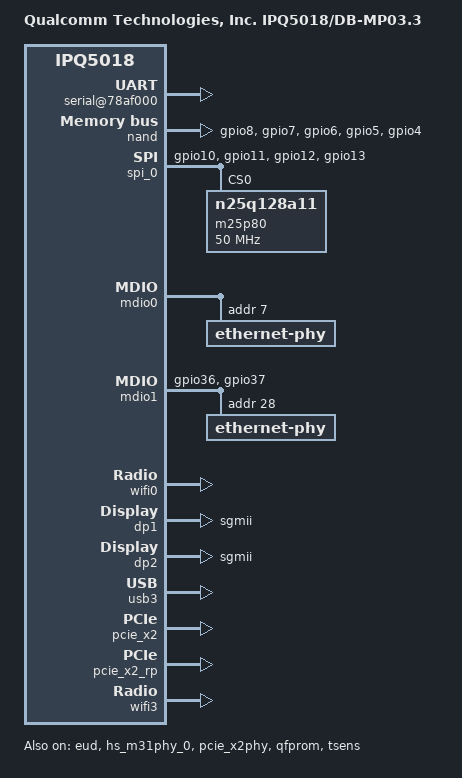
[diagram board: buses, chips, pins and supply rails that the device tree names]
/dts-v1/;
/* Copyright (c) 2018-2020, The Linux Foundation. All rights reserved.
 *
 * Permission to use, copy, modify, and/or distribute this software for any
 * purpose with or without fee is hereby granted, provided that the above
 * copyright notice and this permission notice appear in all copies.
 *
 * THE SOFTWARE IS PROVIDED "AS IS" AND THE AUTHOR DISCLAIMS ALL WARRANTIES
 * WITH REGARD TO THIS SOFTWARE INCLUDING ALL IMPLIED WARRANTIES OF
 * MERCHANTABILITY AND FITNESS. IN NO EVENT SHALL THE AUTHOR BE LIABLE FOR
 * ANY SPECIAL, DIRECT, INDIRECT, OR CONSEQUENTIAL DAMAGES OR ANY DAMAGES
 * WHATSOEVER RESULTING FROM LOSS OF USE, DATA OR PROFITS, WHETHER IN AN
 * ACTION OF CONTRACT, NEGLIGENCE OR OTHER TORTIOUS ACTION, ARISING OUT OF
 * OR IN CONNECTION WITH THE USE OR PERFORMANCE OF THIS SOFTWARE.
 */

#include "qcom-ipq5018.dtsi"

/ {
	#address-cells = <0x2>;
	#size-cells = <0x2>;
	model = "Qualcomm Technologies, Inc. IPQ5018/DB-MP03.3";
	compatible = "qcom,ipq5018-db-mp03.3", "qcom,ipq5018";
	interrupt-parent = <&intc>;

	aliases {
		sdhc1 = &sdhc_1; /* SDC1 eMMC slot */
		serial0 = &blsp1_uart1;
		serial1 = &blsp1_uart2;
		ethernet0 = "/soc/dp1";
		ethernet1 = "/soc/dp2";
	};

	chosen {
		bootargs = "console=ttyMSM0,115200,n8 rw init=/init";
	#ifdef __IPQ_MEM_PROFILE_256_MB__
		bootargs-append = " swiotlb=1";
	#else
		bootargs-append = " swiotlb=1 coherent_pool=2M";
	#endif
		stdout-path = "serial0";
	};
	reserved-memory {
	#ifdef __IPQ_MEM_PROFILE_256_MB__
	/*            256 MB Profile
	 * +=========+==============+========================+
	 * |        |              |                         |
	 * | Region | Start Offset |          Size           |
	 * |        |              |                         |
	 * +--------+--------------+-------------------------+
	 * |        |              |                         |
	 * |        |              |                         |
	 * |  NSS   |  0x40000000  |           8MB           |
	 * |        |              |                         |
	 * |        |              |                         |
	 * +--------+--------------+-------------------------+
	 * |        |              |                         |
	 * |        |              |                         |
	 * |        |              |                         |
	 * |        |              |                         |
	 * | Linux  |  0x40800000  | Depends on total memory |
	 * |        |              |                         |
	 * |        |              |                         |
	 * |        |              |                         |
	 * +        |              |                         |
	 * +--------+--------------+-------------------------+
	 * |        |              |                         |
	 * | uboot  |  0x4A600000  |           4MB           |
	 * |        |              |                         |
	 * +--------+--------------+-------------------------+
	 * |  SBL   |  0x4AA00000  |           1MB           |
	 * +--------+--------------+-------------------------+
	 * |  smem  |  0x4AB00000  |           1MB           |
	 * +--------+--------------+-------------------------+
	 * |        |              |                         |
	 * |   TZ   |  0x4AC00000  |           4MB           |
	 * |        |              |                         |
	 * +--------+--------------+-------------------------+
	 * |        |              |                         |
	 * |        |              |                         |
	 * |        |              |                         |
	 * |   Q6   |  0x4B000000  |          23MB           |
	 * |        |              |                         |
	 * |        |              |                         |
	 * |        |              |                         |
	 * +--------+--------------+-------------------------+
	 * | M3 Dump| 0x4C700000   |          1MB            |
	 * +--------+--------------+-------------------------+
	 * | QDSS   | 0x4C800000   |          1MB            |
	 * +--------+--------------+-------------------------+
	 * |        |              |                         |
	 * |QCN9000 |  0x4C900000  |          17MB           |
	 * |        |              |                         |
	 * +--------+--------------+-------------------------+
	 * |        |              |                         |
	 * |  MHI1  |  0x4DA00000  |          16MB           |
	 * |        |              |                         |
	 * +--------+--------------+-------------------------+
	 * |                                                 |
	 * |      Rest of the memory for Linux               |
	 * |                                                 |
	 * +=================================================+
	 */
		qcn9000_pcie0@4c900000 {
			no-map;
			reg = <0x0 0x4C900000 0x0 0x01100000>;
		};

		mhi_region1: dma_pool1@4da00000 {
			compatible = "shared-dma-pool";
			no-map;
			reg = <0x0 0x4da00000 0x0 0x01000000>;
		};
	#else
	/*                      512 MB Profile
	 * +=========+==============+========================+
	 * |        |              |                         |
	 * | Region | Start Offset |          Size           |
	 * |        |              |                         |
	 * +--------+--------------+-------------------------+
	 * |        |              |                         |
	 * |        |              |                         |
	 * |  NSS   |  0x40000000  |          16MB           |
	 * |        |              |                         |
	 * |        |              |                         |
	 * +--------+--------------+-------------------------+
	 * |        |              |                         |
	 * |        |              |                         |
	 * |        |              |                         |
	 * |        |              |                         |
	 * | Linux  |  0x41000000  | Depends on total memory |
	 * |        |              |                         |
	 * |        |              |                         |
	 * |        |              |                         |
	 * |        |              |                         |
	 * +--------+--------------+-------------------------+
	 * |        |              |                         |
	 * | uboot  |  0x4A600000  |           4MB           |
	 * |        |              |                         |
	 * +--------+--------------+-------------------------+
	 * |  SBL   |  0x4AA00000  |           1MB           |
	 * +--------+--------------+-------------------------+
	 * |  smem  |  0x4AB00000  |           1MB           |
	 * +--------+--------------+-------------------------+
	 * |        |              |                         |
	 * |   TZ   |  0x4AC00000  |           4MB           |
	 * |        |              |                         |
	 * +--------+--------------+-------------------------+
	 * |        |              |                         |
	 * |        |              |                         |
	 * |        |              |                         |
	 * |   Q6   |  0x4B000000  |          24MB           |
	 * |        |              |                         |
	 * |        |              |                         |
	 * +--------+--------------+-------------------------+
	 * | M3 Dump|  0x4C800000  |           1MB           |
	 * +--------+--------------+-------------------------+
	 * |  QDSS  |  0x4C900000  |           1MB           |
	 * +--------+--------------+-------------------------+
	 * | caldb  |  0x4CA00000  |           2MB           |
	 * +--------+--------------+-------------------------+
	 * |        |              |                         |
	 * |QCN9000 |  0x4CC00000  |          30MB           |
	 * |        |              |                         |
	 * +--------+--------------+-------------------------+
	 * |        |              |                         |
	 * |  MHI1  |  0x4EA00000  |          16MB           |
	 * |        |              |                         |
	 * +--------+--------------+-------------------------+
	 * |                                                 |
	 * |      Rest of the memory for Linux               |
	 * |                                                 |
	 * +=================================================+
	 */
		qcn9000_pcie0@4cc00000 {
			no-map;
			reg = <0x0 0x4CC00000 0x0 0x01E00000>;
		};

		mhi_region1: dma_pool1@4ea00000 {
			compatible = "shared-dma-pool";
			no-map;
			reg = <0x0 0x4ea00000 0x0 0x01000000>;
		};
	#endif
	};

	soc {
		serial@78af000 {
			status = "ok";
		};

		qpic_bam: dma@7984000{
			status = "ok";
		};

		nand: qpic-nand@79b0000 {
			pinctrl-0 = <&qspi_nand_pins>;
			pinctrl-names = "default";
			status = "ok";
		};

		spi_0: spi@78b5000 { /* BLSP1 QUP0 */
			pinctrl-0 = <&blsp0_spi_pins>;
			pinctrl-names = "default";
			cs-select = <0>;
			status = "ok";

			m25p80@0 {
				#address-cells = <1>;
				#size-cells = <1>;
				reg = <0>;
				compatible = "n25q128a11";
				linux,modalias = "m25p80", "n25q128a11";
				spi-max-frequency = <50000000>;
				use-default-sizes;
			};
		};

		mdio0: mdio@88000 {
			status = "ok";

			ethernet-phy@0 {
				reg = <7>;
			};
		};

		mdio1: mdio@90000 {
			status = "ok";
			pinctrl-0 = <&mdio1_pins>;
			pinctrl-names = "default";
			phy-reset-gpio = <&tlmm 39 0>;

			ethernet-phy@0 {
				reg = <28>;
			};
		};

		ess-instance {
			num_devices = <0x1>;
			ess-switch@0x39c00000 {
				switch_mac_mode = <0xf>; /* mac mode for uniphy instance*/
				cmnblk_clk = "internal_96MHz"; /* cmnblk clk*/
				qcom,port_phyinfo {
					port@0 {
						port_id = <1>;
						phy_address = <7>;
						mdiobus = <&mdio0>;
					};
					port@1 {
						port_id = <2>;
						phy_address = <0x1c>;
						mdiobus = <&mdio1>;
						port_mac_sel = "QGMAC_PORT";
					};
				};
				led_source@0 {
					source = <0>;
					mode = "normal";
					speed = "all";
					blink_en = "enable";
					active = "high";
				};
			};
		};

		wifi0: wifi@c000000 {
			status = "ok";
		};

		dp1 {
			device_type = "network";
			compatible = "qcom,nss-dp";
			clocks = <&gcc GCC_SNOC_GMAC0_AXI_CLK>;
			clock-names = "nss-snoc-gmac-axi-clk";
			qcom,id = <1>;
			reg = <0x39C00000 0x10000>;
			interrupts = <GIC_SPI 101 IRQ_TYPE_LEVEL_HIGH>;
			qcom,mactype = <2>;
			qcom,link-poll = <1>;
			qcom,phy-mdio-addr = <7>;
			mdio-bus = <&mdio0>;
			local-mac-address = [000000000000];
			phy-mode = "sgmii";
		};

		dp2 {
			device_type = "network";
			compatible = "qcom,nss-dp";
			clocks = <&gcc GCC_SNOC_GMAC1_AXI_CLK>;
			clock-names = "nss-snoc-gmac-axi-clk";
			qcom,id = <2>;
			reg = <0x39D00000 0x10000>;
			interrupts = <GIC_SPI 109 IRQ_TYPE_LEVEL_HIGH>;
			qcom,mactype = <2>;
			qcom,link-poll = <1>;
			qcom,phy-mdio-addr = <28>;
			mdio-bus = <&mdio1>;
			local-mac-address = [000000000000];
			phy-mode = "sgmii";
		};

		qcom,test@0 {
			status = "ok";
		};
	};

	thermal-zones {
		status = "ok";
	};
};

&tlmm {
	pinctrl-0 = <&blsp0_uart_pins &blsp1_uart_pins &phy_led_pins>;
	pinctrl-names = "default";

	blsp0_uart_pins: blsp0_uart_pins {
		uart_rx_tx {
			pins = "gpio20", "gpio21";
			function = "blsp0_uart0";
			bias-disable;
		};
	};

	blsp1_uart_pins: blsp1_uart_pins {
		uart_rx_tx {
			pins = "gpio23", "gpio25", "gpio24", "gpio26";
			function = "blsp1_uart2";
			bias-disable;
		};
	};

	blsp0_spi_pins: blsp0_spi_pins {
		mux {
			pins = "gpio10", "gpio11", "gpio12", "gpio13";
			function = "blsp0_spi";
			drive-strength = <8>;
			bias-disable;
		};
	};

	qspi_nand_pins: qspi_nand_pins {
		qspi_cs {
				pins = "gpio8";
				function = "qspi_cs";
				drive-strength = <8>;
				bias-disable;
			};
		qspi_data_0 {
				pins = "gpio7";
				function = "qspi0";
				drive-strength = <8>;
				bias-disable;
			};
		qspi_data_1 {
				pins = "gpio6";
				function = "qspi1";
				drive-strength = <8>;
				bias-disable;
			};
		qspi_data_2 {
				pins = "gpio5";
				function = "qspi2";
				drive-strength = <8>;
				bias-disable;
			};
		qspi_data_3 {
				pins = "gpio4";
				function = "qspi3";
				drive-strength = <8>;
				bias-disable;
			};
	};

	mdio1_pins: mdio_pinmux {
		mux_0 {
			pins = "gpio36";
			function = "mdc";
			drive-strength = <8>;
			bias-pull-up;
		};

		mux_1 {
			pins = "gpio37";
			function = "mdio";
			drive-strength = <8>;
			bias-pull-up;
		};
	};

	phy_led_pins: phy_led_pins {
		gephy_led_pin {
			pins = "gpio46";
			function = "led0";
			drive-strength = <8>;
			bias-pull-down;
		};
	};
};

&usb3 {
	status = "ok";
};

&eud {
	status = "ok";
};

&pcie_x1 {
	status = "disabled";
	perst-gpio = <&tlmm 18 1>;
};

&pcie_x2 {
	status = "ok";
	perst-gpio = <&tlmm 15 1>;
};

&dwc_0 {
	/delete-property/ #phy-cells;
	/delete-property/ phys;
	/delete-property/ phy-names;
};

&hs_m31phy_0 {
	status = "ok";
};

&pcie_x1phy {
	status = "disabled";
};

&pcie_x2phy {
	status = "ok";
};

&pcie_x1_rp {
	status = "disabled";

	mhi_0: qcom,mhi@0 {
		reg = <0 0 0 0 0 >;
	};
};

&pcie_x2_rp {
	status = "ok";

	mhi_1: qcom,mhi@1 {
		reg = <0 0 0 0 0 >;
		qrtr_instance_id = <0x20>;
		#address-cells = <0x2>;
		#size-cells = <0x2>;
		memory-region = <&mhi_region1>;
	};
};

&wifi3 {
        status = "ok";
};

&qfprom {
	status = "ok";
};

&tsens {
	status = "ok";
};

&qgic_msi_0 {
	status = "ok";
};

&qcom_q6v5_wcss {
	/*Maple internal radio*/
	q6v5_wcss_userpd1 {
		interrupts-extended = <&wcss_smp2p_in 8 0>,
			<&wcss_smp2p_in 9 0>,
			<&wcss_smp2p_in 12 0>,
			<&wcss_smp2p_in 11 0>;
		interrupt-names ="fatal",
			"ready",
			"spawn_ack",
			"stop-ack";
		qcom,smem-states = <&wcss_smp2p_out 8>,
			<&wcss_smp2p_out 9>,
			<&wcss_smp2p_out 10>;
		qcom,smem-state-names = "shutdown",
			"stop",
			"spawn";
		qca,asid = <1>;
		qca,auto-restart;
		qca,int_radio;
	};

	/*1st spruce radio*/
	q6v5_wcss_userpd2 {
		interrupts-extended = <&wcss_smp2p_in 16 0>,
			<&wcss_smp2p_in 17 0>,
			<&wcss_smp2p_in 20 0>,
			<&wcss_smp2p_in 19 0>;
		interrupt-names ="fatal",
			"ready",
			"spawn_ack",
			"stop-ack";
		qcom,smem-states = <&wcss_smp2p_out 16>,
			<&wcss_smp2p_out 17>,
			<&wcss_smp2p_out 18>;
		qcom,smem-state-names = "shutdown",
			"stop",
			"spawn";
		qca,asid = <2>;
		qca,auto-restart;
	};
};
